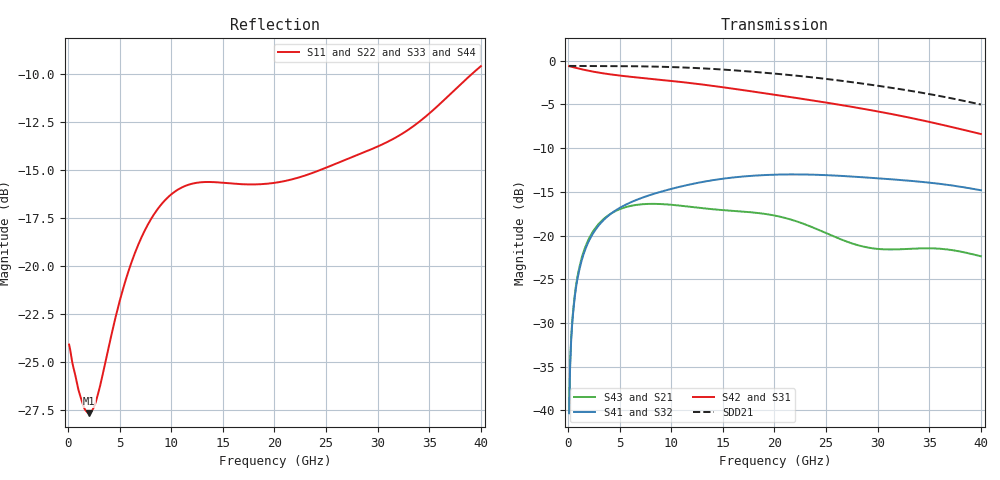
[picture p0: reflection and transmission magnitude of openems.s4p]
! E_s8_L1L8_p1000_round_g0: pair L1→L8, pitch 1 mm, two round antipads, 0 GND vias
! stackup: 8-layer 1.6 mm FR-4 (generic)
! ports: 1 P near, 2 N near, 3 P far, 4 N far
! openEMS 0.37.0, staircase, fine mesh (dfine 0.0175 mm), 1609608 cells
# Hz S RI R 50
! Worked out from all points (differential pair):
!   400 points, 100 MHz to 40 GHz, reference 50 ohm
!   strongest paths, dB at 100 MHz, 10.1 GHz, 20.1 GHz, 30.1 GHz, 40 GHz:
!     S42: -0.6, -2.3, -3.9, -5.8, -8.4
!     S31: -0.6, -2.3, -3.9, -5.8, -8.4
!     S41: -40.3, -14.6, -13.0, -13.5, -14.8
!     S32: -40.3, -14.6, -13.0, -13.5, -14.8
!     S43: -40.1, -16.5, -17.7, -21.5, -22.4
!     S21: -40.0, -16.5, -17.8, -21.5, -22.4
!   taken as a pair (ports 2,1 in; 4,3 out), SDD21 dB: -0.6, -0.7, -1.5, -2.9, -5.0
!   lowest |S11| = -27.6 dB at 2 GHz (marker M1), VSWR 1.09, Z = 52.8 + j3.19 ohm
!   |S11| at or under -10 dB: start of sweep to 39.13 GHz
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1e8  -0.0618 0.00991  0.00384 0.00917  0.9303 -0.044  -0.00339 -0.00898
     0.00384 0.00917  -0.0618 0.00991  -0.00339 -0.00898  0.9303 -0.044
     0.9303 -0.044  -0.00339 -0.00899  -0.0617 0.00993  0.00385 0.00916
     -0.00339 -0.00899  0.9303 -0.044  0.00385 0.00916  -0.0617 0.00993
2e9  0.0285 0.0301  0.0945 0.013  0.5917 -0.6466  -0.0921 -0.0104
     0.0945 0.013  0.0285 0.0301  -0.0921 -0.0104  0.5917 -0.6466
     0.5917 -0.6466  -0.0921 -0.0104  0.0286 0.0308  0.0945 0.0131
     -0.0921 -0.0104  0.5917 -0.6466  0.0945 0.0131  0.0286 0.0308
7.4e9  -0.1118 -0.0523  -0.091 -0.1208  -0.7705 -0.1951  0.0978 0.1345
       -0.091 -0.1208  -0.1118 -0.0523  0.0978 0.1345  -0.7705 -0.1951
       -0.7703 -0.1953  0.0977 0.1345  -0.1114 -0.0506  -0.0905 -0.1213
       0.0977 0.1345  -0.7703 -0.1953  -0.0905 -0.1213  -0.1114 -0.0506
1.2e10  -0.0174 0.163  -0.0848 0.1184  -0.0517 0.7416  0.1257 -0.1516
        -0.0848 0.1184  -0.0174 0.163  0.1257 -0.1516  -0.0517 0.7416
        -0.0517 0.742  0.1258 -0.1517  -0.0183 0.1665  -0.0856 0.1178
        0.1258 -0.1517  -0.0517 0.742  -0.0856 0.1178  -0.0183 0.1665
2e10  0.00972 -0.1645  0.0942 -0.0894  0.1214 -0.6287  -0.1363 0.1768
      0.0942 -0.0894  0.00972 -0.1645  -0.1363 0.1768  0.1214 -0.6287
      0.1212 -0.6278  -0.1361 0.1765  0.0123 -0.1585  0.0955 -0.0884
      -0.1361 0.1765  0.1212 -0.6278  0.0955 -0.0884  0.0123 -0.1585
2.84e10  -0.084 0.1776  -0.0504 0.071  -0.0944 0.5248  0.1008 -0.1907
         -0.0504 0.071  -0.084 0.1776  0.1008 -0.1907  -0.0944 0.5248
         -0.0949 0.5251  0.101 -0.1907  -0.0859 0.1848  -0.0515 0.0701
         0.101 -0.1907  -0.0949 0.5251  -0.0515 0.0701  -0.0859 0.1848
4e10  -0.0364 -0.3294  -0.0652 -0.0382  -0.3285 -0.1974  0.1459 0.1098
      -0.0652 -0.0382  -0.0364 -0.3294  0.1459 0.1098  -0.3285 -0.1974
      -0.3265 -0.1964  0.145 0.1093  -0.0268 -0.32  -0.0647 -0.04
      0.145 0.1093  -0.3265 -0.1964  -0.0647 -0.04  -0.0268 -0.32
